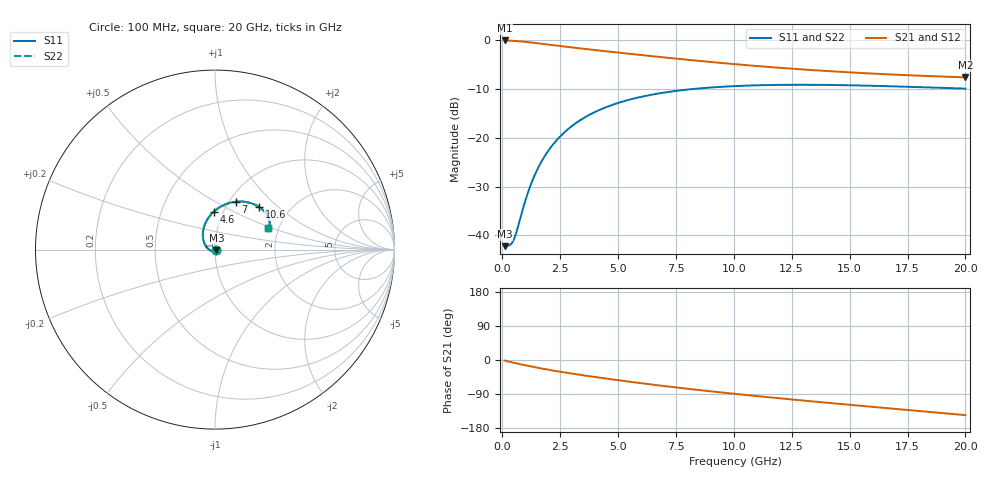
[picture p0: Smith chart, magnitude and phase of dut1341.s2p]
! Touchstone file exported from HFSS 2024.1.0
!  File:  C:/UserFiles/LocalFiles/RDL_TSV_Batchsim/temp_RDL_TSV_1341_1780391816.aedt
!  Generated:  05:29:35 PM Jun  2, 2026
!  Design:  RDL_TSV
!  Project:  temp_RDL_TSV_1341_1780391816
!  Setup:  Setup1
!  Solution:  Sweep
! Variables:
!  dtsv = 12.74um
!  hbump = 3um
!  htsv = 68.33um
!  ldown = 343.23um
!  lrdl = 228.06um
!  p = 40
!  p1 = 59.68um
!  rhole = 10um
!  subl = 1941.93um
!  t = 450um
!  tdown = 4.84um
!  trdl = 4.43um
!  viad = 10um
!  wdown = 19.37um
!  wrdl = 23.02um
!  xbump = 18um
# GHz S MA R 50.000000
! Terminal data exported
! Port[1] = TM1_1_T1
! Port[2] = TM1_4_T1
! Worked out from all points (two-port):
!   200 points, 100 MHz to 20 GHz, reference 50 ohm
!   highest |S21| = -0.07 dB at 100 MHz (marker M1); lowest = -7.6 dB at 20 GHz (marker M2)
!   |S21| within 3 dB of the highest: start of sweep to 6.026 GHz
!   lowest |S11| = -42.2 dB at 100 MHz (marker M3), VSWR 1.02, Z = 50.8 - j0.192 ohm
!   |S11| at or under -10 dB: start of sweep to 8.262 GHz
!   |S22| runs from -42.2 to -9.2 dB; largest |S21 - S12| = 9.1e-15
!   S11 on the Smith chart (normalised r, x): 100 MHz: 1.02, -0.00; 4.6 GHz: 0.90, +0.40; 7 GHz: 1.07, +0.62; 10.6 GHz: 1.42, +0.76; 20 GHz: 1.75, +0.48
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0.1  0.007769 -14.1  0.9917 -1.5  0.9917 -1.5  0.007769 -14.1
! Gamma 0 0 0 0
! Port Impedance 50 0 50 0
0.3  0.007914 -48.6  0.9881 -4.4  0.9881 -4.4  0.007918 -48.6
0.4  0.008247 -69.4  0.9854 -5.9  0.9854 -5.9  0.008251 -69.4
0.5  0.009083 -90.8  0.9821 -7.3  0.9821 -7.3  0.009086 -90.7
0.6  0.0106 -110.6  0.9784 -8.7  0.9784 -8.7  0.0106 -110.5
1  0.0229 -162.4  0.9594 -14.1  0.9594 -14.1  0.02287 -162.3
1.2  0.03164 -177.4  0.9481 -16.6  0.9481 -16.6  0.03158 -177.4
1.5  0.04664 165.9  0.93 -20.2  0.93 -20.2  0.04655 165.9
1.8  0.06306 153.1  0.9114 -23.7  0.9114 -23.7  0.06293 153.1
2.1  0.08019 142.6  0.8931 -26.9  0.8931 -26.9  0.08002 142.7
2.5  0.1033 131.1  0.8694 -31.0  0.8694 -31.0  0.1031 131.1
3  0.1316 119.2  0.8416 -35.8  0.8416 -35.8  0.1313 119.2
3.5  0.1584 109.4  0.8156 -40.4  0.8156 -40.4  0.1581 109.4
4.6  0.2107 92.2  0.763 -50.0  0.763 -50.0  0.2102 92.1
5.6  0.2495 80.1  0.7195 -58.1  0.7195 -58.1  0.2489 80.0
6.8  0.2856 68.4  0.6718 -67.3  0.6718 -67.3  0.2848 68.4
7  0.2906 66.7  0.6643 -68.8  0.6643 -68.8  0.2898 66.7
10.1  0.3386 46.3  0.5655 -89.7  0.5655 -89.7  0.3376 46.2
10.6  0.3422 43.8  0.5525 -92.8  0.5525 -92.8  0.3412 43.7
13.4  0.3487 32.9  0.4929 -109.3  0.4929 -109.3  0.3476 32.8
16.7  0.3372 25.3  0.4458 -127.6  0.4458 -127.6  0.3361 25.2
20  0.3188 22.5  0.4154 -145.5  0.4154 -145.5  0.3176 22.3
